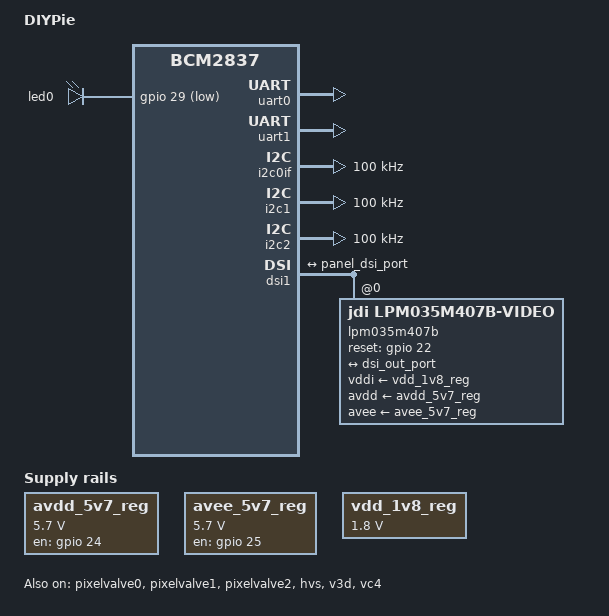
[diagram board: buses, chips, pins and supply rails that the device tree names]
/dts-v1/;

#include "bcm2710.dtsi"
#include "bcm2709-rpi.dtsi"
#include "bcm283x-rpi-csi1-2lane.dtsi"
#include "bcm283x-rpi-i2c0mux_0_44.dtsi"
#include "bcm2708-rpi-bt.dtsi"

#include <dt-bindings/gpio/gpio.h>
#include <dt-bindings/pinctrl/bcm2835.h>

/ {
	compatible = "iocapa,diypie", "brcm,bcm2837";
	model = "DIYPie";

	chosen {
		bootargs = "coherent_pool=1M 8250.nr_uarts=1";
	};

	aliases {
		serial0 = &uart1;
		serial1 = &uart0;
	};

	avdd_5v7_reg: fixedregulator_pos_5v7 {
		compatible = "regulator-fixed";
		regulator-name = "lcm_pos_bias";
		regulator-min-microvolt = <5700000>;
		regulator-max-microvolt = <5700000>;
		gpio = <&gpio 24 GPIO_ACTIVE_HIGH>;
		enable-active-high;
	};

	avee_5v7_reg: fixedregulator_neg_5v7 {
		compatible = "regulator-fixed";
		regulator-name = "lcm_neg_bias";
		regulator-min-microvolt = <5700000>;
		regulator-max-microvolt = <5700000>;
		gpio = <&gpio 25 GPIO_ACTIVE_HIGH>;
		enable-active-high;
	};

	vdd_1v8_reg: fixedregulator_1v8 {
		compatible = "regulator-fixed";
		regulator-always-on;
		regulator-max-microvolt = <1800000>;
		regulator-min-microvolt = <1800000>;
		regulator-name = "1v8";
	};
};

&gpio {
	/*
	 * This is based on the official GPU firmware DT blob.
	 *
	 * Legend:
	 * "NC" = not connected (no rail from the SoC)
	 * "FOO" = GPIO line named "FOO" on the schematic
	 * "FOO_N" = GPIO line named "FOO" on schematic, active low
	 */
	gpio-line-names = "ID_SDA",
			  "ID_SCL",
			  "SDA1",
			  "SCL1",
			  "GPIO_GCLK",
			  "GPIO5",
			  "GPIO6",
			  "SPI_CE1_N",
			  "SPI_CE0_N",
			  "SPI_MISO",
			  "SPI_MOSI",
			  "SPI_SCLK",
			  "GPIO12",
			  "GPIO13",
			  /* Serial port */
			  "TXD1",
			  "RXD1",
			  "GPIO16",
			  "GPIO17",
			  "GPIO18",
			  "GPIO19",
			  "GPIO20",
			  "GPIO21",
			  "GPIO22",
			  "GPIO23",
			  "GPIO24",
			  "GPIO25",
			  "GPIO26",
			  "GPIO27",
			  "HDMI_HPD_N",
			  "STATUS_LED_N",
			  /* Used by BT module */
			  "CTS0",
			  "RTS0",
			  "TXD0",
			  "RXD0",
			  /* Used by Wifi */
			  "SD1_CLK",
			  "SD1_CMD",
			  "SD1_DATA0",
			  "SD1_DATA1",
			  "SD1_DATA2",
			  "SD1_DATA3",
			  "CAM_GPIO1", /* GPIO40 */
			  "WL_ON", /* GPIO41 */
			  "BT_ON", /* GPIO42 */
			  "WIFI_CLK", /* GPIO43 */
			  "SDA0", /* GPIO44 */
			  "SCL0", /* GPIO45 */
			  "SMPS_SCL", /* GPIO46 */
			  "SMPS_SDA", /* GPIO47 */
			  /* Used by SD Card */
			  "SD_CLK_R",
			  "SD_CMD_R",
			  "SD_DATA0_R",
			  "SD_DATA1_R",
			  "SD_DATA2_R",
			  "SD_DATA3_R";

	spi0_pins: spi0_pins {
		brcm,pins = <9 10 11>;
		brcm,function = <4>; /* alt0 */
	};

	spi0_cs_pins: spi0_cs_pins {
		brcm,pins = <8 7>;
		brcm,function = <1>; /* output */
	};

	i2c0_pins: i2c0 {
		brcm,pins = <0 1>;
		brcm,function = <4>;
	};

	i2c1_pins: i2c1 {
		brcm,pins = <2 3>;
		brcm,function = <4>;
	};

	i2s_pins: i2s {
		brcm,pins = <18 19 20 21>;
		brcm,function = <4>; /* alt0 */
	};

	sdio_pins: sdio_pins {
		brcm,pins =     <34 35 36 37 38 39>;
		brcm,function = <7>; // alt3 = SD1
		brcm,pull =     <0 2 2 2 2 2>;
	};

	uart0_pins: uart0_pins {
		brcm,pins = <30 31 32 33>;
		brcm,function = <7>; /* alt3=UART0 */
		brcm,pull = <2 0 0 2>; /* up none none up */
	};

	uart1_pins: uart1_pins {
		brcm,pins;
		brcm,function;
		brcm,pull;
	};

	reset_pins: reset_pins {
		brcm,pins = <22>;
		brcm,function = <BCM2835_FSEL_GPIO_OUT>;    /* out */
		brcm,pull = <BCM2835_PUD_OFF>;              /* no pull */
	};

	bias_pins: bias_pins {
		brcm,pins = <24 25>;
		brcm,function = <BCM2835_FSEL_GPIO_OUT>;    /* out */
		brcm,pull = <BCM2835_PUD_OFF>;              /* no pull */
	};
};

&uart0 {
	pinctrl-names = "default";
	pinctrl-0 = <&uart0_pins>;
	status = "okay";
};

&uart1 {
	pinctrl-names = "default";
	pinctrl-0 = <&uart1_pins>;
	status = "okay";
};

&i2c0if {
	clock-frequency = <100000>;
};

&i2c1 {
	pinctrl-names = "default";
	pinctrl-0 = <&i2c1_pins>;
	clock-frequency = <100000>;
};

&i2c2 {
	clock-frequency = <100000>;
};

&i2s {
	pinctrl-names = "default";
	pinctrl-0 = <&i2s_pins>;
};

&leds {
	act_led: led-act {
		label = "led0";
		linux,default-trigger = "actpwr";
		gpios = <&gpio 29 GPIO_ACTIVE_LOW>;
	};
};

&fb {
	status = "disabled";
};

&pixelvalve0 {
	status = "okay";
};

&pixelvalve1 {
	status = "okay";
};

&pixelvalve2 {
	status = "okay";
};

&hvs {
	status = "okay";
};

&v3d {
	status = "okay";
};

&vc4 {
	status = "okay";
};

&clocks {
	claim-clocks = <
		BCM2835_PLLD_DSI0
		BCM2835_PLLD_DSI1
		BCM2835_PLLH_AUX
		BCM2835_PLLH_PIX
	>;
};

&dsi1 {
	status = "okay";

	port {
		dsi_out_port:endpoint {
			remote-endpoint = <&panel_dsi_port>;
		};
	};

	lpm035m407b:lpm035m407b@0 {
		compatible    = "jdi,lpm035m407b-video";
		status        = "okay";
		reg           = <0>;
		reset-gpios   = <&gpio 22 GPIO_ACTIVE_HIGH>;   /* reset */
		vddi-supply   = <&vdd_1v8_reg>;
		avdd-supply   = <&avdd_5v7_reg>;
		avee-supply   = <&avee_5v7_reg>;
		port {
			panel_dsi_port: endpoint {
				remote-endpoint = <&dsi_out_port>;
			};
		};
	};
};

/ {
	__overrides__ {
		act_led_gpio = <&act_led>,"gpios:4";
		act_led_activelow = <&act_led>,"gpios:8";
		act_led_trigger = <&act_led>,"linux,default-trigger";
	};
};
